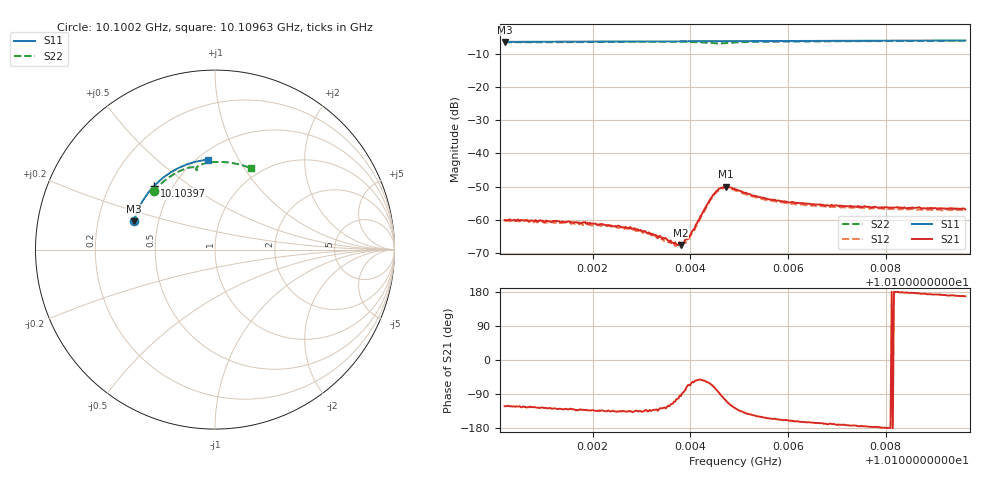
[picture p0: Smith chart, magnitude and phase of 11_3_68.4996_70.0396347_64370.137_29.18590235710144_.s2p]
#  HZ  S  RI  R  50.00
! Rohde & Schwarz Vector Network Analyzer
! Rohde-Schwarz,ZNB20-2Port,1311601062101988,3.16
! Created: UTC 3/20/2024, 5:04:11 PM
! freq[Hz]  re:S11  im:S11  re:S21  im:S21  re:S12  im:S12  re:S22  im:S22
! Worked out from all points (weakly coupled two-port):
!   401 points, 10.1002 GHz to 10.10963 GHz, reference 50 ohm
!   highest |S21| = -50.00 dB at 10.10473 GHz (marker M1); lowest = -67.5 dB at 10.10381 GHz (marker M2)
!   lowest |S11| = -6.4 dB at 10.1002 GHz (marker M3), VSWR 2.84, Z = 18.1 + j7.35 ohm
!   |S11| at or under -10 dB: nowhere
!   |S22| runs from -6.9 to -6.1 dB; largest |S21 - S12| = 0.00033
!   S11 on the Smith chart (normalised r, x): 10.1002 GHz: 0.36, +0.15; 10.10397 GHz: 0.40, +0.37; 10.10963 GHz: 0.56, +0.75
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1.0100196e10  -0.4525 0.1569  -0.000525 -0.000843  -0.000464 -0.000876  -0.3419 0.325
1.0101234e10  -0.4312 0.2166  -0.000595 -0.000767  -0.000511 -0.000755  -0.2947 0.3724
1.0101777e10  -0.4169 0.2463  -0.00059 -0.000664  -0.000527 -0.000701  -0.2672 0.3945
1.010232e10  -0.4006 0.2751  -0.000573 -0.000616  -0.000514 -0.000645  -0.2381 0.4146
1.0102815e10  -0.384 0.3002  -0.00055 -0.0005  -0.000473 -0.000524  -0.2096 0.431
1.0103098e10  -0.3738 0.3141  -0.00043 -0.000481  -0.000413 -0.000487  -0.1927 0.4393
1.0103358e10  -0.3643 0.3265  -0.000354 -0.000422  -0.000337 -0.00046  -0.1763 0.4465
1.0103664e10  -0.3522 0.3407  -0.00015 -0.000414  -0.000115 -0.00042  -0.156 0.4536
1.0103806e10  -0.3464 0.3472  -3.86e-05 -0.00042  2.25e-05 -0.000438  -0.1458 0.4562
1.01039e10  -0.3426 0.3512  0.000102 -0.000503  0.000112 -0.000435  -0.1389 0.4576
1.0103971e10  -0.3396 0.3543  0.000226 -0.000499  0.000243 -0.00048  -0.1335 0.4582
1.0104089e10  -0.3347 0.3595  0.000425 -0.000618  0.000454 -0.000549  -0.1242 0.4587
1.0104372e10  -0.3223 0.3716  0.000944 -0.00158  0.00102 -0.00145  -0.1032 0.4522
1.0104467e10  -0.3182 0.3754  0.00084 -0.00222  0.000981 -0.00205  -0.0999 0.447
1.0104585e10  -0.3128 0.3801  0.000209 -0.00293  0.000435 -0.00277  -0.1011 0.4423
1.0104726e10  -0.3066 0.3856  -0.00094 -0.00302  -0.000638 -0.00295  -0.1054 0.4455
1.0104915e10  -0.2977 0.3933  -0.00175 -0.00232  -0.00146 -0.00236  -0.1016 0.4578
1.0105222e10  -0.2833 0.4048  -0.00197 -0.00145  -0.00172 -0.00154  -0.0828 0.4716
1.0105599e10  -0.265 0.4183  -0.00183 -0.000918  -0.00171 -0.00103  -0.0567 0.4803
1.0106496e10  -0.2186 0.4467  -0.00166 -0.000443  -0.00155 -0.000559  0.00338 0.4882
1.0108076e10  -0.1305 0.4832  -0.00153 -2.13e-05  -0.00147 -0.000176  0.1052 0.4809
1.0109633e10  -0.0382 0.5015  -0.00141 0.000295  -0.00142 0.000139  0.2004 0.4529
